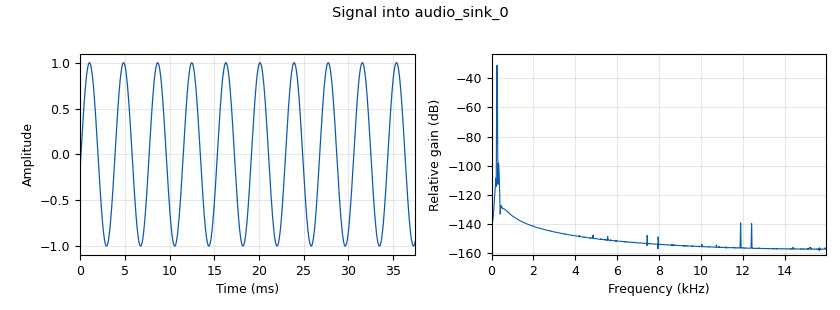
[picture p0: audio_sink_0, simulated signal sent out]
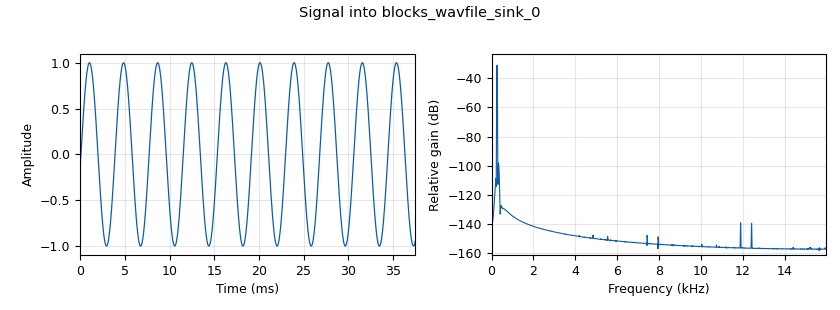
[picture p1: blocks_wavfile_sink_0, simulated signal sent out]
options:
  parameters:
    author: ipsit
    description: Generating Happy Birthday Song
    generate_options: qt_gui
    id: lab1_task1
    output_language: python
    title: Lab 1 Task 1
  states: {}

blocks:
- name: samp_rate
  id: variable
  parameters:
    value: '32000'
  states: {}
- name: audio_sink_0
  id: audio_sink
  parameters:
    samp_rate: samp_rate
  states: {}
- name: blocks_repeat_0
  id: blocks_repeat
  parameters:
    interp: samp_rate//2
    type: float
  states: {}
- name: blocks_throttle_0
  id: blocks_throttle
  parameters:
    samples_per_second: samp_rate
    type: float
  states: {}
- name: blocks_vco_f_0
  id: blocks_vco_f
  parameters:
    amplitude: '1'
    samp_rate: samp_rate
    sensitivity: '6.28'
  states: {}
- name: blocks_vector_source_x_0
  id: blocks_vector_source_x
  parameters:
    repeat: 'True'
    type: float
    vector: (262,262,294,262,349,330,262,294,262,392,349,262,262,523,440,349,330,294,466,466,440,349,392,349)
  states: {}
- name: blocks_wavfile_sink_0
  id: blocks_wavfile_sink
  parameters:
    bits_per_sample: '8'
    file: /home/ipsit/Documents/EE 340/Lab 1/hbd.wav
    samp_rate: samp_rate
  states: {}

connections:
- [blocks_repeat_0, '0', blocks_vco_f_0, '0']
- [blocks_throttle_0, '0', audio_sink_0, '0']
- [blocks_throttle_0, '0', blocks_wavfile_sink_0, '0']
- [blocks_vco_f_0, '0', blocks_throttle_0, '0']
- [blocks_vector_source_x_0, '0', blocks_repeat_0, '0']

metadata:
  file_format: 1
